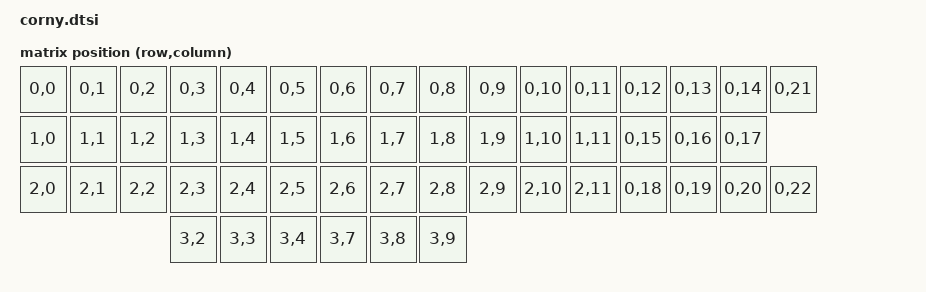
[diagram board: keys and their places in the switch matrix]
#include <dt-bindings/zmk/matrix_transform.h>

/ {
    chosen {
        zmk,kscan = &kscan0;
        zmk,matrix_transform = &default_transform;
    };

    kscan0: kscan_composite {
        compatible = "zmk,kscan-composite";
        rows = <4>;
        columns = <12>;

        matrix {
            kscan = <&kscan1>;
        };

        direct {
            kscan = <&kscan2>;
            column-offset = <12>;
        };
    };

    kscan1: kscan_matrix {
        compatible = "zmk,kscan-gpio-matrix";
        wakeup-source;
        diode-direction = "col2row";
    };

    kscan2: kscan_direct {
        compatible = "zmk,kscan-gpio-direct";
        wakeup-source;
    };   

    default_transform: matrix_transform {
        compatible = "zmk,matrix-transform";
        columns = <12>;
        rows = <4>;

        map = <
RC(0,0) RC(0,1) RC(0,2) RC(0,3) RC(0,4) RC(0,5)   RC(0,6) RC(0,7) RC(0,8) RC(0,9) RC(0,10) RC(0,11)   RC(0,12) RC(0,13) RC(0,14) RC(0,21)
RC(1,0) RC(1,1) RC(1,2) RC(1,3) RC(1,4) RC(1,5)   RC(1,6) RC(1,7) RC(1,8) RC(1,9) RC(1,10) RC(1,11)   RC(0,15) RC(0,16) RC(0,17)
RC(2,0) RC(2,1) RC(2,2) RC(2,3) RC(2,4) RC(2,5)   RC(2,6) RC(2,7) RC(2,8) RC(2,9) RC(2,10) RC(2,11)   RC(0,18) RC(0,19) RC(0,20) RC(0,22)
                        RC(3,2) RC(3,3) RC(3,4)   RC(3,7) RC(3,8) RC(3,9)
        >;
    };

    top_encoder: encoder_top {
        compatible = "alps,ec11";
        steps = <80>;
        status = "disabled";
    };
    bottom_encoder: encoder_bottom {
        compatible = "alps,ec11";
        steps = <80>;
        status = "disabled";
    };
    sensors: sensors {
        compatible = "zmk,keymap-sensors";
        sensors = <&top_encoder &bottom_encoder>;
        triggers-per-rotation = <20>;
    }; 

};
